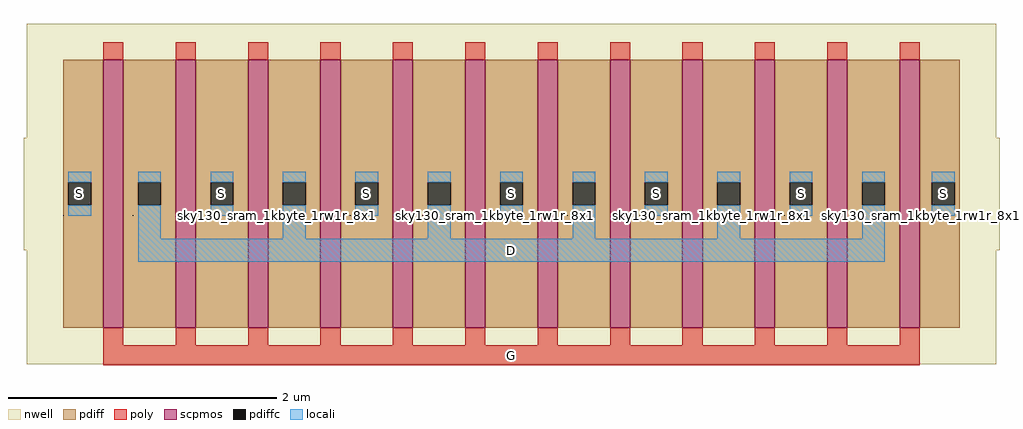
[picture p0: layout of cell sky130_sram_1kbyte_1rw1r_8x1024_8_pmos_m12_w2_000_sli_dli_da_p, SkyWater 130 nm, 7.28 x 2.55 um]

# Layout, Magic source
magic
tech sky130A
magscale 1 2
<< nwell >>
rect -54 284 1392 454
rect -59 116 1397 284
rect -54 -54 1392 116
<< scpmos >>
rect 60 0 90 400
rect 168 0 198 400
rect 276 0 306 400
rect 384 0 414 400
rect 492 0 522 400
rect 600 0 630 400
rect 708 0 738 400
rect 816 0 846 400
rect 924 0 954 400
rect 1032 0 1062 400
rect 1140 0 1170 400
rect 1248 0 1278 400
<< pdiff >>
rect 0 217 60 400
rect 0 183 8 217
rect 42 183 60 217
rect 0 0 60 183
rect 90 217 168 400
rect 90 183 112 217
rect 146 183 168 217
rect 90 0 168 183
rect 198 217 276 400
rect 198 183 220 217
rect 254 183 276 217
rect 198 0 276 183
rect 306 217 384 400
rect 306 183 328 217
rect 362 183 384 217
rect 306 0 384 183
rect 414 217 492 400
rect 414 183 436 217
rect 470 183 492 217
rect 414 0 492 183
rect 522 217 600 400
rect 522 183 544 217
rect 578 183 600 217
rect 522 0 600 183
rect 630 217 708 400
rect 630 183 652 217
rect 686 183 708 217
rect 630 0 708 183
rect 738 217 816 400
rect 738 183 760 217
rect 794 183 816 217
rect 738 0 816 183
rect 846 217 924 400
rect 846 183 868 217
rect 902 183 924 217
rect 846 0 924 183
rect 954 217 1032 400
rect 954 183 976 217
rect 1010 183 1032 217
rect 954 0 1032 183
rect 1062 217 1140 400
rect 1062 183 1084 217
rect 1118 183 1140 217
rect 1062 0 1140 183
rect 1170 217 1248 400
rect 1170 183 1192 217
rect 1226 183 1248 217
rect 1170 0 1248 183
rect 1278 217 1338 400
rect 1278 183 1296 217
rect 1330 183 1338 217
rect 1278 0 1338 183
<< pdiffc >>
rect 8 183 42 217
rect 112 183 146 217
rect 220 183 254 217
rect 328 183 362 217
rect 436 183 470 217
rect 544 183 578 217
rect 652 183 686 217
rect 760 183 794 217
rect 868 183 902 217
rect 976 183 1010 217
rect 1084 183 1118 217
rect 1192 183 1226 217
rect 1296 183 1330 217
<< poly >>
rect 60 400 90 426
rect 168 400 198 426
rect 276 400 306 426
rect 384 400 414 426
rect 492 400 522 426
rect 600 400 630 426
rect 708 400 738 426
rect 816 400 846 426
rect 924 400 954 426
rect 1032 400 1062 426
rect 1140 400 1170 426
rect 1248 400 1278 426
rect 60 -26 90 0
rect 168 -26 198 0
rect 276 -26 306 0
rect 384 -26 414 0
rect 492 -26 522 0
rect 600 -26 630 0
rect 708 -26 738 0
rect 816 -26 846 0
rect 924 -26 954 0
rect 1032 -26 1062 0
rect 1140 -26 1170 0
rect 1248 -26 1278 0
rect 60 -56 1278 -26
<< locali >>
rect 8 217 42 233
rect 8 167 42 183
rect 112 217 146 233
rect 112 133 146 183
rect 220 217 254 233
rect 220 167 254 183
rect 328 217 362 233
rect 328 133 362 183
rect 436 217 470 233
rect 436 167 470 183
rect 544 217 578 233
rect 544 133 578 183
rect 652 217 686 233
rect 652 167 686 183
rect 760 217 794 233
rect 760 133 794 183
rect 868 217 902 233
rect 868 167 902 183
rect 976 217 1010 233
rect 976 133 1010 183
rect 1084 217 1118 233
rect 1084 167 1118 183
rect 1192 217 1226 233
rect 1192 133 1226 183
rect 1296 217 1330 233
rect 1296 167 1330 183
rect 112 99 1226 133
use sky130_sram_1kbyte_1rw1r_8x1024_8_contact_12  sky130_sram_1kbyte_1rw1r_8x1024_8_contact_12_0
transform 1 0 1288 0 1 167
box 0 0 1 1
use sky130_sram_1kbyte_1rw1r_8x1024_8_contact_12  sky130_sram_1kbyte_1rw1r_8x1024_8_contact_12_1
transform 1 0 1184 0 1 167
box 0 0 1 1
use sky130_sram_1kbyte_1rw1r_8x1024_8_contact_12  sky130_sram_1kbyte_1rw1r_8x1024_8_contact_12_2
transform 1 0 1076 0 1 167
box 0 0 1 1
use sky130_sram_1kbyte_1rw1r_8x1024_8_contact_12  sky130_sram_1kbyte_1rw1r_8x1024_8_contact_12_3
transform 1 0 968 0 1 167
box 0 0 1 1
use sky130_sram_1kbyte_1rw1r_8x1024_8_contact_12  sky130_sram_1kbyte_1rw1r_8x1024_8_contact_12_4
transform 1 0 860 0 1 167
box 0 0 1 1
use sky130_sram_1kbyte_1rw1r_8x1024_8_contact_12  sky130_sram_1kbyte_1rw1r_8x1024_8_contact_12_5
transform 1 0 752 0 1 167
box 0 0 1 1
use sky130_sram_1kbyte_1rw1r_8x1024_8_contact_12  sky130_sram_1kbyte_1rw1r_8x1024_8_contact_12_6
transform 1 0 644 0 1 167
box 0 0 1 1
use sky130_sram_1kbyte_1rw1r_8x1024_8_contact_12  sky130_sram_1kbyte_1rw1r_8x1024_8_contact_12_7
transform 1 0 536 0 1 167
box 0 0 1 1
use sky130_sram_1kbyte_1rw1r_8x1024_8_contact_12  sky130_sram_1kbyte_1rw1r_8x1024_8_contact_12_8
transform 1 0 428 0 1 167
box 0 0 1 1
use sky130_sram_1kbyte_1rw1r_8x1024_8_contact_12  sky130_sram_1kbyte_1rw1r_8x1024_8_contact_12_9
transform 1 0 320 0 1 167
box 0 0 1 1
use sky130_sram_1kbyte_1rw1r_8x1024_8_contact_12  sky130_sram_1kbyte_1rw1r_8x1024_8_contact_12_10
transform 1 0 212 0 1 167
box 0 0 1 1
use sky130_sram_1kbyte_1rw1r_8x1024_8_contact_12  sky130_sram_1kbyte_1rw1r_8x1024_8_contact_12_11
transform 1 0 104 0 1 167
box 0 0 1 1
use sky130_sram_1kbyte_1rw1r_8x1024_8_contact_12  sky130_sram_1kbyte_1rw1r_8x1024_8_contact_12_12
transform 1 0 0 0 1 167
box 0 0 1 1
<< labels >>
rlabel locali s 25 200 25 200 4 S
port 1 nsew
rlabel locali s 885 200 885 200 4 S
port 1 nsew
rlabel locali s 237 200 237 200 4 S
port 1 nsew
rlabel locali s 1101 200 1101 200 4 S
port 1 nsew
rlabel locali s 453 200 453 200 4 S
port 1 nsew
rlabel locali s 669 200 669 200 4 S
port 1 nsew
rlabel locali s 1313 200 1313 200 4 S
port 1 nsew
rlabel locali s 669 116 669 116 4 D
port 2 nsew
rlabel poly s 669 -41 669 -41 4 G
port 3 nsew
<< properties >>
string FIXED_BBOX -54 -56 1392 116
string GDS_FILE $PDKPATH/libs.ref/sky130_sram_macros/gds/sky130_sram_1kbyte_1rw1r_8x1024_8.gds
string GDS_END 77016
string GDS_START 73606
<< end >>
